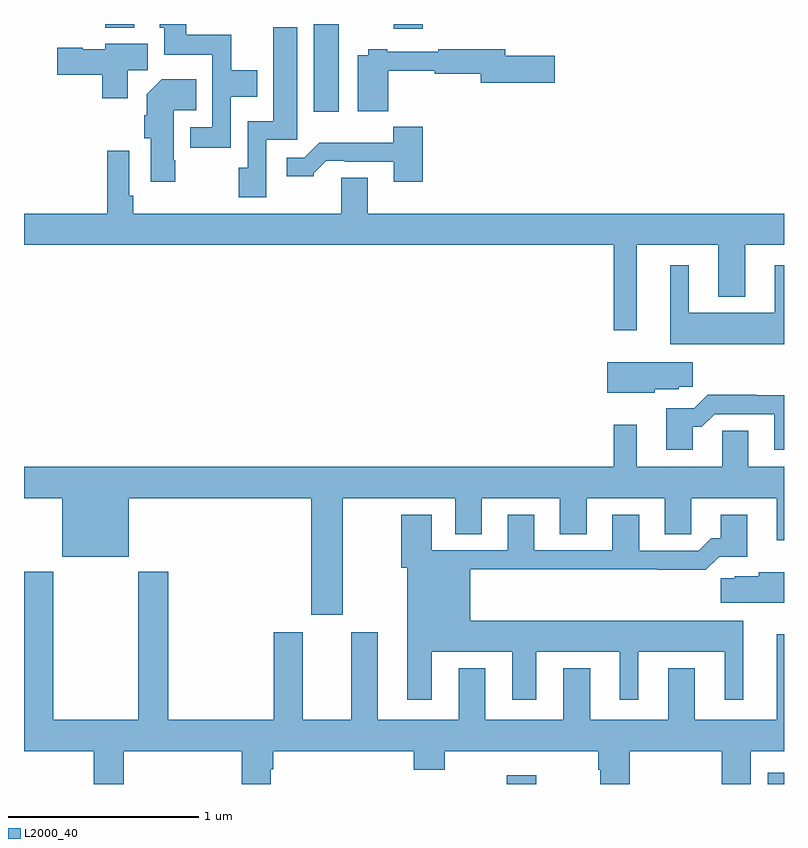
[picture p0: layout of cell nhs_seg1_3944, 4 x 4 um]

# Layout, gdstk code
import gdstk
lib = gdstk.Library(unit=1e-6, precision=1e-09)
def R(c, l, rs):  # rectangles x0, y0, x1, y1
    for r in rs: c.add(gdstk.rectangle(r[:2], r[2:], *l))
def P(c, l, *ps):  # polygons
    for p in ps: c.add(gdstk.Polygon(p, *l))
L2000_40 = (2000, 40)

nhs_seg1_3944 = lib.new_cell('nhs_seg1_3944')
R(nhs_seg1_3944, L2000_40, [(327.54,578.199,327.696,578.245), (328.914,578.199,329,578.257), (326.525,581.736,326.656,582.199), (326.945,582.174,327.098,582.199), (325.427,582.179,325.579,582.199)])
P(nhs_seg1_3944, L2000_40, [(326.088,581.816),(326.227,581.816),(326.227,581.956),(326.091,581.956),(326.091,582.142),(325.855,582.142),(325.855,582.199),(325.715,582.199),(325.715,582.18),(325.739,582.18),(325.739,582.038),(325.992,582.038),(325.992,581.655),(325.875,581.655),(325.875,581.547),(326.088,581.547)],
  [(326.274,581.589),(326.437,581.589),(326.437,582.181),(326.312,582.181),(326.312,581.686),(326.178,581.686),(326.178,581.442),(326.131,581.442),(326.131,581.286),(326.274,581.286)],
  [(325.546,581.956),(325.651,581.956),(325.651,582.094),(325.428,582.094),(325.428,582.067),(325.308,582.067),(325.308,582.075),(325.176,582.075),(325.176,581.933),(325.412,581.933),(325.412,581.808),(325.546,581.808)],
  [(326.918,581.953),(327.162,581.953),(327.162,581.938),(327.404,581.938),(327.404,581.891),(327.793,581.891),(327.793,582.033),(327.532,582.033),(327.532,582.067),(327.181,582.067),(327.181,582.054),(326.911,582.054),(326.911,582.067),(326.811,582.067),(326.811,582.034),(326.756,582.034),(326.756,581.741),(326.918,581.741)],
  [(325.797,581.482),(325.789,581.482),(325.789,581.744),(325.907,581.744),(325.907,581.908),(325.724,581.908),(325.646,581.83),(325.646,581.72),(325.634,581.72),(325.634,581.598),(325.667,581.598),(325.667,581.37),(325.797,581.37)],
  [(327.098,581.659),(326.943,581.659),(326.943,581.575),(326.554,581.575),(326.475,581.496),(326.382,581.496),(326.382,581.399),(326.526,581.399),(326.526,581.414),(326.59,581.478),(326.689,581.478),(326.689,581.475),(326.945,581.475),(326.945,581.37),(327.098,581.37)],
  [(328.225,581.036),(328.655,581.036),(328.655,580.763),(328.795,580.763),(328.795,581.036),(329,581.036),(329,581.2),(326.809,581.2),(326.809,581.39),(326.669,581.39),(326.669,581.2),(325.574,581.2),(325.574,581.296),(325.554,581.296),(325.554,581.533),(325.438,581.533),(325.438,581.2),(325,581.2),(325,581.036),(328.104,581.036),(328.104,580.587),(328.225,580.587)],
  [(329,580.93),(328.952,580.93),(328.952,580.678),(328.498,580.678),(328.498,580.93),(328.4,580.93),(328.4,580.514),(329,580.514)],
  [(328.32,580.277),(328.446,580.277),(328.446,580.291),(328.519,580.291),(328.519,580.42),(328.07,580.42),(328.07,580.259),(328.32,580.259)],
  [(328.519,580.079),(328.568,580.079),(328.635,580.146),(328.949,580.146),(328.949,579.957),(329,579.957),(329,580.244),(328.853,580.244),(328.853,580.247),(328.598,580.247),(328.527,580.176),(328.379,580.176),(328.379,579.957),(328.519,579.957)],
  [(325,579.704),(325.202,579.704),(325.202,579.395),(325.552,579.395),(325.552,579.704),(326.513,579.704),(326.513,579.09),(326.677,579.09),(326.677,579.704),(327.269,579.704),(327.269,579.514),(327.409,579.514),(327.409,579.704),(327.821,579.704),(327.821,579.514),(327.961,579.514),(327.961,579.704),(328.373,579.704),(328.373,579.514),(328.512,579.514),(328.512,579.704),(328.961,579.704),(328.961,579.483),(329,579.483),(329,579.868),(328.813,579.868),(328.813,580.058),(328.674,580.058),(328.674,579.868),(328.225,579.868),(328.225,580.09),(328.104,580.09),(328.104,579.868),(325,579.868)],
  [(327.145,578.894),(327.569,578.894),(327.569,578.643),(327.697,578.643),(327.697,578.894),(328.136,578.894),(328.136,578.643),(328.234,578.643),(328.234,578.894),(328.688,578.894),(328.688,578.643),(328.786,578.643),(328.786,579.058),(327.349,579.058),(327.349,579.328),(328.333,579.328),(328.333,579.326),(328.589,579.326),(328.659,579.396),(328.807,579.396),(328.807,579.616),(328.667,579.616),(328.667,579.493),(328.618,579.493),(328.551,579.426),(328.237,579.426),(328.237,579.616),(328.097,579.616),(328.097,579.429),(327.685,579.429),(327.685,579.616),(327.545,579.616),(327.545,579.429),(327.145,579.429),(327.145,579.616),(326.986,579.616),(326.986,579.336),(327.017,579.336),(327.017,578.643),(327.145,578.643)],
  [(328.673,578.199),(328.825,578.199),(328.825,578.372),(329,578.372),(329,578.986),(328.961,578.986),(328.961,578.536),(328.531,578.536),(328.531,578.809),(328.391,578.809),(328.391,578.536),(327.979,578.536),(327.979,578.809),(327.839,578.809),(327.839,578.536),(327.427,578.536),(327.427,578.809),(327.287,578.809),(327.287,578.536),(326.863,578.536),(326.863,578.998),(326.723,578.998),(326.723,578.536),(326.467,578.536),(326.467,578.998),(326.315,578.998),(326.315,578.536),(325.76,578.536),(325.76,579.316),(325.6,579.316),(325.6,578.536),(325.155,578.536),(325.155,579.316),(325,579.316),(325,578.372),(325.366,578.372),(325.366,578.199),(325.526,578.199),(325.526,578.372),(326.147,578.372),(326.147,578.199),(326.299,578.199),(326.299,578.276),(326.312,578.276),(326.312,578.372),(327.05,578.372),(327.05,578.273),(327.215,578.273),(327.215,578.372),(328.022,578.372),(328.022,578.274),(328.034,578.274),(328.034,578.199),(328.187,578.199),(328.187,578.372),(328.673,578.372)],
  [(329,579.313),(328.866,579.313),(328.866,579.292),(328.74,579.292),(328.74,579.281),(328.668,579.281),(328.668,579.152),(329,579.152)])

lib.write_gds('nhs_seg1_3944.gds')
